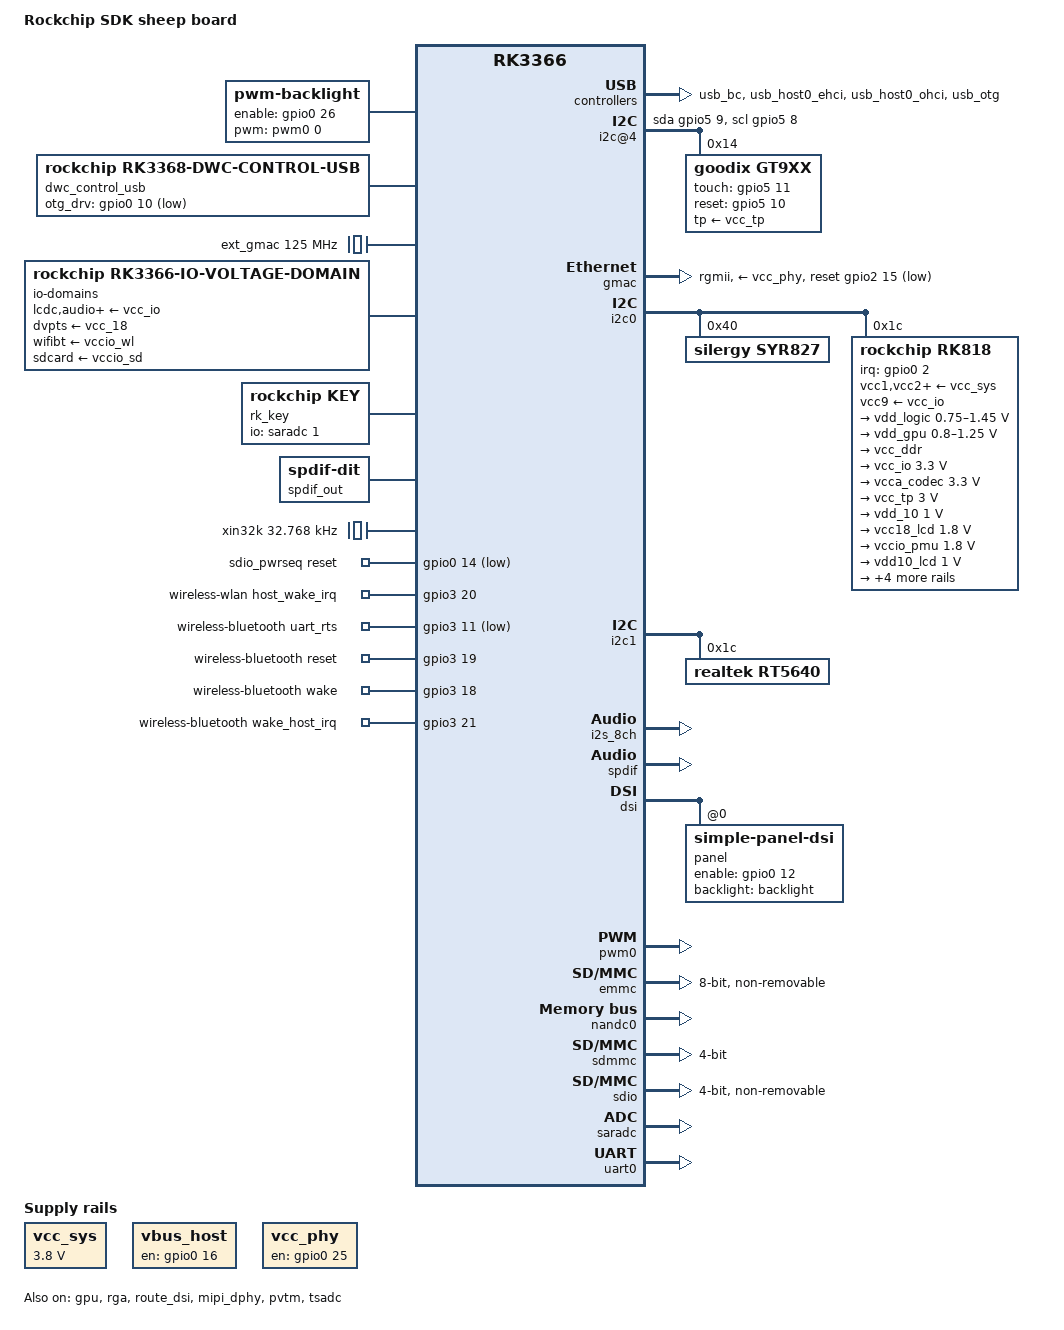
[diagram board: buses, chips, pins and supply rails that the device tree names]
/*
 * Copyright (c) 2016 Fuzhou Rockchip Electronics Co., Ltd
 *
 * This file is dual-licensed: you can use it either under the terms
 * of the GPL or the X11 license, at your option. Note that this dual
 * licensing only applies to this file, and not this project as a
 * whole.
 *
 *  a) This file is free software; you can redistribute it and/or
 *     modify it under the terms of the GNU General Public License as
 *     published by the Free Software Foundation; either version 2 of the
 *     License, or (at your option) any later version.
 *
 *     This file is distributed in the hope that it will be useful,
 *     but WITHOUT ANY WARRANTY; without even the implied warranty of
 *     MERCHANTABILITY or FITNESS FOR A PARTICULAR PURPOSE.  See the
 *     GNU General Public License for more details.
 *
 * Or, alternatively,
 *
 *  b) Permission is hereby granted, free of charge, to any person
 *     obtaining a copy of this software and associated documentation
 *     files (the "Software"), to deal in the Software without
 *     restriction, including without limitation the rights to use,
 *     copy, modify, merge, publish, distribute, sublicense, and/or
 *     sell copies of the Software, and to permit persons to whom the
 *     Software is furnished to do so, subject to the following
 *     conditions:
 *
 *     The above copyright notice and this permission notice shall be
 *     included in all copies or substantial portions of the Software.
 *
 *     THE SOFTWARE IS PROVIDED "AS IS", WITHOUT WARRANTY OF ANY KIND,
 *     EXPRESS OR IMPLIED, INCLUDING BUT NOT LIMITED TO THE WARRANTIES
 *     OF MERCHANTABILITY, FITNESS FOR A PARTICULAR PURPOSE AND
 *     NONINFRINGEMENT. IN NO EVENT SHALL THE AUTHORS OR COPYRIGHT
 *     HOLDERS BE LIABLE FOR ANY CLAIM, DAMAGES OR OTHER LIABILITY,
 *     WHETHER IN AN ACTION OF CONTRACT, TORT OR OTHERWISE, ARISING
 *     FROM, OUT OF OR IN CONNECTION WITH THE SOFTWARE OR THE USE OR
 *     OTHER DEALINGS IN THE SOFTWARE.
 */

/dts-v1/;
#include <dt-bindings/pwm/pwm.h>
#include "rk3366.dtsi"
#include "rk3366-android.dtsi"

/ {
	model = "Rockchip SDK sheep board";
	compatible = "rockchip,sheep", "rockchip,rk3366";

	chosen {
		bootargs = "earlycon=uart8250,mmio32,0xff690000 swiotlb=1 firmware_class.path=/system/vendor/firmware";
	};

	fiq_debugger: fiq-debugger {
		compatible = "rockchip,fiq-debugger";
		rockchip,serial-id = <2>;
		rockchip,wake-irq = <0>;
		rockchip,irq-mode-enable = <0>;  /* If enable uart uses irq instead of fiq */
		rockchip,baudrate = <1500000>;  /* Only 115200 and 1500000 */
		pinctrl-names = "default";
		pinctrl-0 = <&uart2_t1_xfer>;
		interrupts = <GIC_SPI 154 IRQ_TYPE_LEVEL_HIGH>;   /* signal irq */
	};

	backlight: backlight {
		compatible = "pwm-backlight";
		pwms = <&pwm0 0 25000 PWM_POLARITY_INVERTED>;
		brightness-levels = <
			  0   1   2   3   4   5   6   7
			  8   9  10  11  12  13  14  15
			 16  17  18  19  20  21  22  23
			 24  25  26  27  28  29  30  31
			 32  33  34  35  36  37  38  39
			 40  41  42  43  44  45  46  47
			 48  49  50  51  52  53  54  55
			 56  57  58  59  60  61  62  63
			 64  65  66  67  68  69  70  71
			 72  73  74  75  76  77  78  79
			 80  81  82  83  84  85  86  87
			 88  89  90  91  92  93  94  95
			 96  97  98  99 100 101 102 103
			104 105 106 107 108 109 110 111
			112 113 114 115 116 117 118 119
			120 121 122 123 124 125 126 127
			128 129 130 131 132 133 134 135
			136 137 138 139 140 141 142 143
			144 145 146 147 148 149 150 151
			152 153 154 155 156 157 158 159
			160 161 162 163 164 165 166 167
			168 169 170 171 172 173 174 175
			176 177 178 179 180 181 182 183
			184 185 186 187 188 189 190 191
			192 193 194 195 196 197 198 199
			200 201 202 203 204 205 206 207
			208 209 210 211 212 213 214 215
			216 217 218 219 220 221 222 223
			224 225 226 227 228 229 230 231
			232 233 234 235 236 237 238 239
			240 241 242 243 244 245 246 247
			248 249 250 251 252 253 254 255>;
		default-brightness-level = <200>;
		enable-gpios = <&gpio0 26 GPIO_ACTIVE_HIGH>;
	};

	dwc_control_usb: dwc-control-usb {
		compatible = "rockchip,rk3368-dwc-control-usb";
		rockchip,grf = <&grf>;
		grf-offset = <0x049c>; /* GRF_SOC_STATUS for USB2.0 OTG */
		interrupts = <GIC_SPI 93 IRQ_TYPE_LEVEL_HIGH>,
			     <GIC_SPI 94 IRQ_TYPE_LEVEL_HIGH>,
			     <GIC_SPI 95 IRQ_TYPE_LEVEL_HIGH>,
			     <GIC_SPI 96 IRQ_TYPE_LEVEL_HIGH>;
		interrupt-names = "otg_id", "otg_bvalid",
				  "otg_linestate", "host0_linestate";
		clocks = <&cru SCLK_USBPHY480M>, <&cru HCLK_OTG>;
		clock-names = "sclk_otgphy0", "otg";

		usb_bc {
			compatible = "inno,phy";
			regbase = &dwc_control_usb;
			rk_usb,bvalid     = <0x49c 23 1>;
			rk_usb,iddig      = <0x49c 26 1>;
			rk_usb,vdmsrcen   = <0x718 12 1>;
			rk_usb,vdpsrcen   = <0x718 11 1>;
			rk_usb,rdmpden    = <0x718 10 1>;
			rk_usb,idpsrcen   = <0x718  9 1>;
			rk_usb,idmsinken  = <0x718  8 1>;
			rk_usb,idpsinken  = <0x718  7 1>;
			rk_usb,dpattach   = <0x498 31 1>;
			rk_usb,cpdet      = <0x498 30 1>;
			rk_usb,dcpattach  = <0x498 29 1>;
		};
	};

	ext_gmac: external-gmac-clock {
		compatible = "fixed-clock";
		clock-frequency = <125000000>;
		clock-output-names = "ext_gmac";
		#clock-cells = <0>;
	};

	ion {
		compatible = "rockchip,ion";
		#address-cells = <1>;
		#size-cells = <0>;

		cma-heap {
			reg = <0x00000000 0x02000000>;
		};

		system-heap {
		};
	};

	io-domains {
		compatible = "rockchip,rk3366-io-voltage-domain";
		rockchip,grf = <&grf>;

		lcdc-supply = <&vcc_io>;
		dvpts-supply = <&vcc_18>;
		wifibt-supply = <&vccio_wl>;
		audio-supply = <&vcc_io>;
		sdcard-supply = <&vccio_sd>;
		tphdsor-supply = <&vcc_io>;
	};

	i2c@2 {
		compatible = "i2c-gpio";
		gpios = <&gpio5 15 GPIO_ACTIVE_HIGH>, /* sda */
			<&gpio5 16 GPIO_ACTIVE_HIGH>; /* scl */
		i2c-gpio,delay-us = <2>;        /* ~100 kHz */
		#address-cells = <1>;
		#size-cells = <0>;
		pinctrl-names = "default";
		pinctrl-0 = <&i2c2_gpio>;
		status = "disabled";

		mpu6050@68 {
			status = "disabled";
			compatible = "invensense,mpu6050";
			pinctrl-names = "default";
			pinctrl-0 = <&mpu6500_irq_gpio>;
			reg = <0x68>;
			irq-gpio = <&gpio5 18 IRQ_TYPE_EDGE_RISING>;
			mpu-int_config = <0x10>;
			mpu-level_shifter = <0>;
			mpu-orientation = <0 1 0 1 0 0 0 0 1>;
			orientation-x= <0>;
			orientation-y= <1>;
			orientation-z= <0>;
			support-hw-poweroff = <0>;
			mpu-debug = <1>;
		};
	};

	i2c@4 {
		compatible = "i2c-gpio";
		gpios = <&gpio5 9 GPIO_ACTIVE_HIGH>, /* sda */
			<&gpio5 8 GPIO_ACTIVE_HIGH>; /* scl */
		i2c-gpio,delay-us = <2>;        /* ~100 kHz */
		#address-cells = <1>;
		#size-cells = <0>;
		pinctrl-names = "default";
		pinctrl-0 = <&i2c4_gpio>;
		status = "okay";

		gt9xx: gt9xx@14 {
			compatible = "goodix,gt9xx";
			reg = <0x14>;
			touch-gpio = <&gpio5 11 IRQ_TYPE_LEVEL_LOW>;
			reset-gpio = <&gpio5 10 GPIO_ACTIVE_HIGH>;
			max-x = <1200>;
			max-y = <1900>;
			tp-size = <911>;
			tp-supply = <&vcc_tp>;
			status = "okay";
		};
	};

	ramoops_mem: ramoops_mem {
		reg = <0x0 0x100000 0x0 0x100000>;
		reg-names = "ramoops_mem";
	};

	ramoops {
		compatible = "ramoops";
		record-size = <0x0 0x10000>;
		console-size = <0x0 0x80000>;
		ftrace-size = <0x0 0x10000>;
		pmsg-size = <0x0 0x50000>;
		memory-region = <&ramoops_mem>;
	};

	rk_key: rockchip-key {
		compatible = "rockchip,key";
		status = "okay";

		io-channels = <&saradc 1>;

		vol-up-key {
			linux,code = <115>;
			label = "volume up";
			rockchip,adc_value = <1>;
		};

		vol-down-key {
			linux,code = <114>;
			label = "volume down";
			rockchip,adc_value = <170>;
		};

		power-key {
			gpios = <&gpio0 11 GPIO_ACTIVE_LOW>;
			linux,code = <116>;
			label = "power";
			gpio-key,wakeup;
		};

		menu-key {
			linux,code = <59>;
			label = "menu";
			rockchip,adc_value = <355>;
		};

		home-key {
			linux,code = <102>;
			label = "home";
			rockchip,adc_value = <746>;
		};

		back-key {
			linux,code = <158>;
			label = "back";
			rockchip,adc_value = <560>;
		};

		camera-key {
			linux,code = <212>;
			label = "camera";
			rockchip,adc_value = <450>;
		};
	};

	rt5640-sound {
		compatible = "simple-audio-card";
		simple-audio-card,format = "i2s";
		simple-audio-card,name = "rockchip,rt5640-codec";
		simple-audio-card,mclk-fs = <256>;
		simple-audio-card,widgets =
			"Microphone", "Mic Jack",
			"Headphone", "Headphone Jack";
		simple-audio-card,routing =
			"Mic Jack", "MICBIAS1",
			"IN1P", "Mic Jack",
			"Headphone Jack", "HPOL",
			"Headphone Jack", "HPOR";
		simple-audio-card,cpu {
			sound-dai = <&i2s_8ch>;
		};
		simple-audio-card,codec {
			sound-dai = <&rt5640>;
		};
	};

	spdif-sound {
		compatible = "simple-audio-card";
		simple-audio-card,name = "rockchip,spdif";
		simple-audio-card,cpu {
			sound-dai = <&spdif>;
		};
		simple-audio-card,codec {
			sound-dai = <&spdif_out>;
		};
	};

	spdif_out: spdif-out {
		compatible = "linux,spdif-dit";
		#sound-dai-cells = <0>;
	};

	vcc_sys: vcc-sys {
		compatible = "regulator-fixed";
		regulator-name = "vcc_sys";
		regulator-always-on;
		regulator-boot-on;
		regulator-min-microvolt = <3800000>;
		regulator-max-microvolt = <3800000>;
	};

	vbus_host: vbus-host-regulator {
		compatible = "regulator-fixed";
		enable-active-high;
		gpio = <&gpio0 16 GPIO_ACTIVE_HIGH>;
		pinctrl-names = "default";
		pinctrl-0 = <&host_vbus_drv>;
		regulator-name = "vbus_host";
	};

	vcc_phy: vcc-phy-regulator {
		compatible = "regulator-fixed";
		enable-active-high;
		gpio = <&gpio0 25 GPIO_ACTIVE_HIGH>;
		pinctrl-names = "default";
		pinctrl-0 = <&eth_phy_pwr>;
		regulator-name = "vcc_phy";
		regulator-always-on;
		regulator-boot-on;
	};

	xin32k: xin32k {
		compatible = "fixed-clock";
		clock-frequency = <32768>;
		clock-output-names = "xin32k";
		#clock-cells = <0>;
	};

	sdio_pwrseq: sdio-pwrseq {
		compatible = "mmc-pwrseq-simple";
		clocks = <&rk818 1>;
		clock-names = "ext_clock";
		pinctrl-names = "default";
		pinctrl-0 = <&wifi_enable_h>;

		/*
		 * On the module itself this is one of these (depending
		 * on the actual card populated):
		 * - SDIO_RESET_L_WL_REG_ON
		 * - PDN (power down when low)
		 */
		reset-gpios = <&gpio0 14 GPIO_ACTIVE_LOW>; /* GPIO0_B6 */
	};

	wireless-wlan {
		compatible = "wlan-platdata";
		rockchip,grf = <&grf>;
		wifi_chip_type = "ap6335";
		sdio_vref = <1800>;
		WIFI,host_wake_irq = <&gpio3 20 GPIO_ACTIVE_HIGH>; /* GPIO3_c4 */
		status = "okay";
	};

	wireless-bluetooth {
		compatible = "bluetooth-platdata";
		//wifi-bt-power-toggle;
		uart_rts_gpios = <&gpio3 11 GPIO_ACTIVE_LOW>; /* GPIO3_b3 */
		pinctrl-names = "default","rts_gpio";
		pinctrl-0 = <&uart0_rts>;
		pinctrl-1 = <&uart0_rts_gpio>;
		//BT,power_gpio  = <&gpio3 19 GPIO_ACTIVE_HIGH>; /* GPIO3_c3 */
		BT,reset_gpio    = <&gpio3 19 GPIO_ACTIVE_HIGH>; /* GPIO3_c3 */
		BT,wake_gpio     = <&gpio3 18 GPIO_ACTIVE_HIGH>; /* GPIO3_c2 */
		BT,wake_host_irq = <&gpio3 21 GPIO_ACTIVE_HIGH>; /* GPIO3_c5 */
		status = "okay";
	};
};

&cpu0 {
	cpu-supply = <&syr827>;
};

&cpu1 {
	cpu-supply = <&syr827>;
};

&cpu2 {
	cpu-supply = <&syr827>;
};

&cpu3 {
	cpu-supply = <&syr827>;
};

&gpu {
	mali-supply = <&vdd_logic>;
	status = "okay";
};

&gmac {
	phy-supply = <&vcc_phy>;
	phy-mode = "rgmii";
	clock_in_out = "input";
	snps,reset-gpio = <&gpio2 15 GPIO_ACTIVE_LOW>;
	snps,reset-active-low;
	snps,reset-delays-us = <0 10000 50000>;
	assigned-clocks = <&cru SCLK_MAC>;
	assigned-clock-parents = <&ext_gmac>;
	pinctrl-names = "default";
	pinctrl-0 = <&rgmii_pins>;
	tx_delay = <0x25>;
	rx_delay = <0x1d>;
	status = "okay";
};

&i2c0 {
	status = "okay";
	i2c-scl-rising-time-ns = <250>;
	i2c-scl-falling-time-ns = <20>;

	syr827: syr827@40 {
		regulator-name = "vdd_arm";
		compatible = "silergy,syr827";
		status = "okay";
		reg = <0x40>;
		regulator-compatible = "fan53555-reg";
		regulator-min-microvolt = <712500>;
		regulator-max-microvolt = <1500000>;
		fcs,suspend-voltage-selector = <1>;
		regulator-always-on;
		regulator-boot-on;
		regulator-initial-state = <3>;
		regulator-ramp-delay = <2000>;
		regulator-state-mem {
			regulator-off-in-suspend;
			regulator-suspend-microvolt = <900000>;
		};
	};

	rk818: pmic@1c {
		compatible = "rockchip,rk818";
		status = "okay";
		reg = <0x1c>;
		clock-output-names = "rk818-clkout1", "wifibt_32kin";
		interrupt-parent = <&gpio0>;
		interrupts = <2 IRQ_TYPE_LEVEL_LOW>;
		pinctrl-names = "default";
		pinctrl-0 = <&pmic_int_l>;
		rockchip,system-power-controller;
		wakeup-source;
		#clock-cells = <1>;

		vcc1-supply = <&vcc_sys>;
		vcc2-supply = <&vcc_sys>;
		vcc3-supply = <&vcc_sys>;
		vcc4-supply = <&vcc_sys>;
		vcc6-supply = <&vcc_sys>;
		vcc7-supply = <&vcc_sys>;
		vcc8-supply = <&vcc_sys>;
		vcc9-supply = <&vcc_io>;

		regulators {
			vdd_logic: DCDC_REG1 {
				regulator-name = "vdd_logic";
				regulator-always-on;
				regulator-boot-on;
				regulator-min-microvolt = <750000>;
				regulator-max-microvolt = <1450000>;
				regulator-ramp-delay = <6001>;
				regulator-state-mem {
					regulator-on-in-suspend;
					regulator-suspend-microvolt = <1000000>;
				};
			};

			vdd_gpu: DCDC_REG2 {
				regulator-name = "vdd_gpu";
				regulator-always-on;
				regulator-boot-on;
				regulator-min-microvolt = <800000>;
				regulator-max-microvolt = <1250000>;
				regulator-ramp-delay = <6001>;
				regulator-state-mem {
					regulator-on-in-suspend;
					regulator-suspend-microvolt = <1000000>;
				};
			};

			vcc_ddr: DCDC_REG3 {
				regulator-name = "vcc_ddr";
				regulator-always-on;
				regulator-boot-on;
				regulator-state-mem {
					regulator-on-in-suspend;
				};
			};

			vcc_io: DCDC_REG4 {
				regulator-name = "vcc_io";
				regulator-always-on;
				regulator-boot-on;
				regulator-min-microvolt = <3300000>;
				regulator-max-microvolt = <3300000>;
				regulator-state-mem {
					regulator-on-in-suspend;
					regulator-suspend-microvolt = <3300000>;
				};
			};

			vcca_codec: LDO_REG1 {
				regulator-name = "vcca_codec";
				regulator-always-on;
				regulator-boot-on;
				regulator-min-microvolt = <3300000>;
				regulator-max-microvolt = <3300000>;
				regulator-state-mem {
					regulator-on-in-suspend;
					regulator-suspend-microvolt = <3300000>;
				};
			};

			vcc_tp: LDO_REG2 {
				regulator-name = "vcc_tp";
				regulator-always-on;
				regulator-boot-on;
				regulator-min-microvolt = <3000000>;
				regulator-max-microvolt = <3000000>;
				regulator-state-mem {
					regulator-on-in-suspend;
					regulator-suspend-microvolt = <3000000>;
				};
			};

			vdd_10: LDO_REG3 {
				regulator-name = "vdd_10";
				regulator-always-on;
				regulator-boot-on;
				regulator-min-microvolt = <1000000>;
				regulator-max-microvolt = <1000000>;
				regulator-state-mem {
					regulator-on-in-suspend;
					regulator-suspend-microvolt = <1000000>;
				};
			};

			vcc18_lcd: LDO_REG4 {
				regulator-name = "vcc18_lcd";
				regulator-always-on;
				regulator-boot-on;
				regulator-min-microvolt = <1800000>;
				regulator-max-microvolt = <1800000>;
				regulator-state-mem {
					regulator-on-in-suspend;
					regulator-suspend-microvolt = <1800000>;
				};
			};

			vccio_pmu: LDO_REG5 {
				regulator-name = "vccio_pmu";
				regulator-always-on;
				regulator-boot-on;
				regulator-min-microvolt = <1800000>;
				regulator-max-microvolt = <1800000>;
				regulator-state-mem {
					regulator-on-in-suspend;
					regulator-suspend-microvolt = <1800000>;
				};
			};

			vdd10_lcd: LDO_REG6 {
				regulator-name = "vdd10_lcd";
				regulator-always-on;
				regulator-boot-on;
				regulator-min-microvolt = <1000000>;
				regulator-max-microvolt = <1000000>;
				regulator-state-mem {
					regulator-on-in-suspend;
					regulator-suspend-microvolt = <1000000>;
				};
			};

			vcc_18: LDO_REG7 {
				regulator-name = "vcc_18";
				regulator-always-on;
				regulator-boot-on;
				regulator-min-microvolt = <1800000>;
				regulator-max-microvolt = <1800000>;
				regulator-state-mem {
					regulator-on-in-suspend;
					regulator-suspend-microvolt = <1800000>;
				};
			};

			vccio_wl: LDO_REG8 {
				regulator-name = "vccio_wl";
				regulator-always-on;
				regulator-boot-on;
				regulator-min-microvolt = <1800000>;
				regulator-max-microvolt = <3300000>;
				regulator-state-mem {
					regulator-on-in-suspend;
					regulator-suspend-microvolt = <3300000>;
				};
			};

			vccio_sd: LDO_REG9 {
				regulator-name = "vccio_sd";
				regulator-always-on;
				regulator-boot-on;
				regulator-min-microvolt = <1800000>;
				regulator-max-microvolt = <3300000>;
				regulator-state-mem {
					regulator-on-in-suspend;
					regulator-suspend-microvolt = <3300000>;
				};
			};

			vcc_sd: SWITCH_REG {
				regulator-name = "vcc_sd";
				regulator-always-on;
				regulator-boot-on;
				regulator-state-mem {
					regulator-on-in-suspend;
				};
			};
		};

		battery {
			compatible = "rk818-battery";
			ocv_table = <3400 3650 3693 3707 3731 3749 3760
				     3770 3782 3796 3812 3829 3852 3882
				     3915 3951 3981 4047 4086 4132 4182>;
			design_capacity = <7916>;
			design_qmax = <8708>;
			bat_res = <65>;
			max_input_current = <2000>;
			max_chrg_current = <1600>;
			max_chrg_voltage = <4200>;
			sleep_enter_current = <300>;
			sleep_exit_current = <300>;
			power_off_thresd = <3400>;
			zero_algorithm_vol = <3850>;
			fb_temperature = <105>;
			sample_res = <20>;
			max_soc_offset = <60>;
			energy_mode = <0>;
			monitor_sec = <5>;
			virtual_power = <0>;
			power_dc2otg = <0>;
		};
	};
};

&i2c1 {
	status = "okay";
	i2c-scl-rising-time-ns = <460>;
	i2c-scl-falling-time-ns = <15>;

	rt5640: rt5640@1c {
		#sound-dai-cells = <0>;
		compatible = "realtek,rt5640";
		reg = <0x1c>;
		clocks = <&cru SCLK_I2S_8CH_OUT>;
		clock-names = "mclk";
		realtek,in1-differential;
	};
};

&i2s_8ch {
	status = "okay";
	rockchip,i2s-broken-burst-len;
	rockchip,playback-channels = <8>;
	rockchip,capture-channels = <2>;
	#sound-dai-cells = <0>;
};

&spdif {
	status = "okay";
	#sound-dai-cells = <0>;
};

&dsi {
	status = "okay";

	panel@0 {
		compatible = "simple-panel-dsi";
		reg = <0>;
		backlight = <&backlight>;
		enable-gpios = <&gpio0 12 GPIO_ACTIVE_HIGH>;

		prepare-delay-ms = <20>;
		enable-delay-ms = <20>;

		dsi,flags = <(MIPI_DSI_MODE_VIDEO | MIPI_DSI_MODE_VIDEO_BURST)>;
		dsi,format = <MIPI_DSI_FMT_RGB888>;
		dsi,lanes = <4>;

		display-timings {
			native-mode = <&timing0>;

			timing0: timing0 {
				clock-frequency = <135000000>;
				hactive = <1200>;
				vactive = <1920>;
				hfront-porch = <80>;
				hsync-len = <20>;
				hback-porch = <80>;
				vfront-porch = <21>;
				vsync-len = <3>;
				vback-porch = <21>;
				hsync-active = <0>;
				vsync-active = <0>;
				de-active = <0>;
				pixelclk-active = <0>;
			};
		};
	};
};

&pwm0 {
	status = "okay";
};

&rga {
	status = "okay";
};

&route_dsi {
	status = "okay";
};

&mipi_dphy {
	status = "okay";
};

&dwc_control_usb {
	otg_drv_gpio = <&gpio0 10 GPIO_ACTIVE_LOW>; /* GPIO_B2 = 10 */

	rockchip,remote_wakeup;
	rockchip,usb_irq_wakeup;
};

&usb_host0_ehci {
	assigned-clocks = <&cru SCLK_USBPHY480M>;
	assigned-clock-parents = <&u2phy>;
	status = "okay";
};

&usb_host0_ohci {
	status = "okay";
};

&usb_otg {
	clocks = <&cru SCLK_USBPHY480M>, <&cru HCLK_OTG>;
	clock-names = "usbphy_480m", "otg";
	resets = <&cru SRST_USBOTG_AHB>,
		 <&cru SRST_USBOTG_PHY>,
		 <&cru SRST_USBOTG_CON>;
	reset-names = "otg_ahb", "otg_phy", "otg_controller";
	/* 0 - Normal, 1 - Force Host, 2 - Force Device */
	rockchip,usb-mode = <0>;
	status = "okay";
};

&u2phy_host {
	phy-supply = <&vbus_host>;
};

&pinctrl {
	mpu6500 {
		mpu6500_irq_gpio: mpu6500-irq-gpio {
			rockchip,pins = <5 18 RK_FUNC_GPIO &pcfg_pull_none>;
		};
	};

	pmic {
		pmic_int_l: pmic-int-l {
			rockchip,pins = <0 2 RK_FUNC_GPIO &pcfg_pull_up>;
		};
	};

	sdio-pwrseq {
		wifi_enable_h: wifienable-h {
			rockchip,pins = <0 14 RK_FUNC_GPIO &pcfg_pull_none>;
		};
	};

	wireless-bluetooth {
		uart0_rts_gpio: uart0-rts-gpios {
			rockchip,pins = <3 11 RK_FUNC_GPIO &pcfg_pull_none>;
		};
	};
};

&pvtm {
	status = "okay";
};

&pmu_pvtm {
	status = "okay";
};

&emmc {
	clock-frequency = <100000000>;
	clock-freq-min-max = <400000 100000000>;
	supports-emmc;
	bus-width = <8>;
	cap-mmc-highspeed;
	disable-wp;
	non-removable;
	num-slots = <1>;
	pinctrl-names = "default";
	pinctrl-0 = <&emmc_clk &emmc_cmd &emmc_pwr &emmc_bus8>;
	status = "okay";
};

&nandc0 {
	status = "okay"; /* enable both for emmc and nand */
};

&sdmmc {
	clock-frequency = <37500000>;
	clock-freq-min-max = <400000 37500000>;
	supports-sd;
	bus-width = <4>;
	cap-mmc-highspeed;
	cap-sd-highspeed;
	card-detect-delay = <200>;
	disable-wp;
	num-slots = <1>;
	pinctrl-names = "default";
	pinctrl-0 = <&sdmmc_clk &sdmmc_cmd &sdmmc_cd &sdmmc_bus4>;
	status = "okay";
};

&sdio {
	clock-frequency = <37500000>;
	clock-freq-min-max = <200000 37500000>;
	supports-sdio;
	bus-width = <4>;
	disable-wp;
	cap-sd-highspeed;
	cap-sdio-irq;
	keep-power-in-suspend;
	mmc-pwrseq = <&sdio_pwrseq>;
	non-removable;
	num-slots = <1>;
	pinctrl-names = "default";
	pinctrl-0 = <&sdio_bus4 &sdio_cmd &sdio_clk>;
	sd-uhs-sdr104;
	status = "okay";
};

&saradc {
	status = "okay";
};

&tsadc {
	status = "okay";
};

&uart0 {
	status = "okay";
	pinctrl-0 = <&uart0_xfer &uart0_cts>;
};
